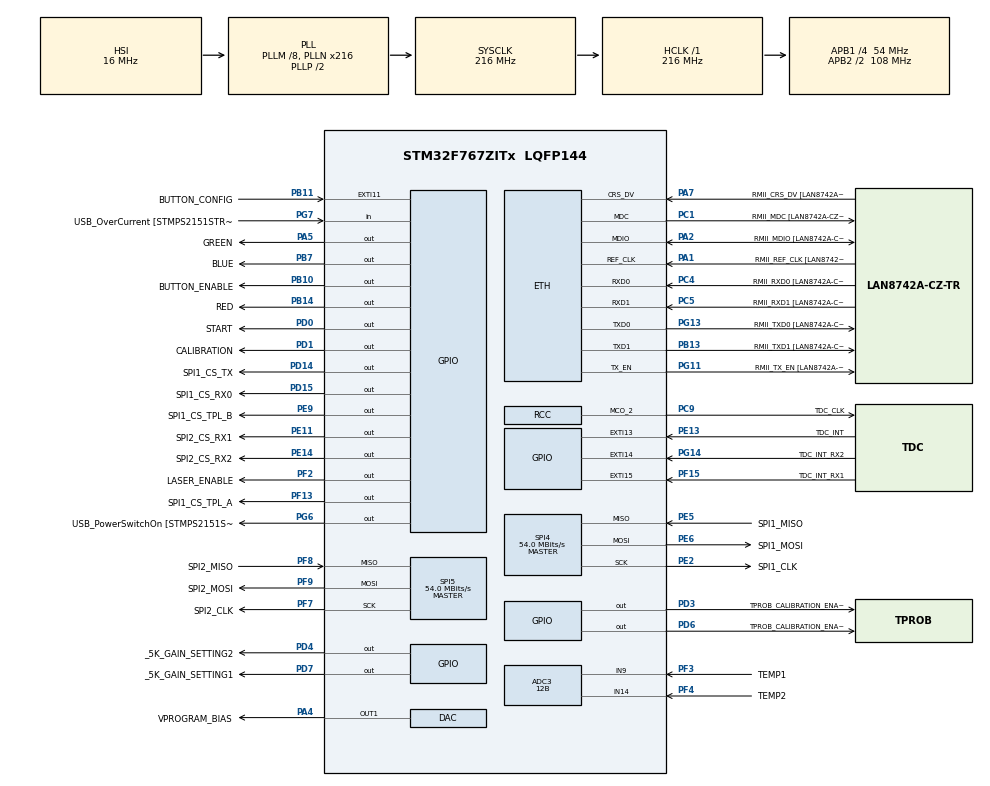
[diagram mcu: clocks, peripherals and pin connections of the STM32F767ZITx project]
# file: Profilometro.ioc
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ADC3.Channel-0\#ChannelRegularConversion=ADC_CHANNEL_9
ADC3.ClockPrescaler=ADC_CLOCK_SYNC_PCLK_DIV4
ADC3.ContinuousConvMode=DISABLE
ADC3.DMAContinuousRequests=DISABLE
ADC3.DataAlign=ADC_DATAALIGN_RIGHT
ADC3.DiscontinuousConvMode=DISABLE
ADC3.EOCSelection=ADC_EOC_SINGLE_CONV
ADC3.EnableAnalogWatchDog=false
ADC3.ExternalTrigConv=ADC_SOFTWARE_START
ADC3.ExternalTrigConvEdge=ADC_EXTERNALTRIGCONVEDGE_NONE
ADC3.InjNumberOfConversion=0
ADC3.NbrOfConversion=1
ADC3.NbrOfConversionFlag=1
ADC3.Rank-0\#ChannelRegularConversion=1
ADC3.Resolution=ADC_RESOLUTION_12B
ADC3.SamplingTime-0\#ChannelRegularConversion=ADC_SAMPLETIME_3CYCLES
ADC3.ScanConvMode=DISABLE
ETH.MediaInterface=ETH_MEDIA_INTERFACE_RMII
LWIP.GATEWAY_ADDRESS=192.168.002.001
LWIP.IP_ADDRESS=192.168.002.005
LWIP.LWIP_DHCP=0
LWIP.LWIP_HTTPD=1
LWIP.LWIP_HTTPD_CGI=1
LWIP.LWIP_NETIF_LINK_CALLBACK=1
LWIP.NETMASK_ADDRESS=255.255.255.000
LWIP.Version=v2.0.0_Cube
Mcu.Family=STM32F7
Mcu.Name=STM32F767ZITx
Mcu.Package=LQFP144
NVIC.EXTI15_10_IRQn=true\:0\:0\:false\:false\:true\:true
NVIC.PriorityGroup=NVIC_PRIORITYGROUP_4
NVIC.TIM1_UP_TIM10_IRQn=true\:0\:0\:false\:false\:true\:true
PA1.GPIO_Label=RMII_REF_CLK [LAN8742A-CZ-TR_REFCLK0]
PA1.Mode=RMII
PA1.Signal=ETH_REF_CLK
PA10.GPIO_Label=USB_ID
PA10.Signal=USB_OTG_FS_ID
PA11.GPIO_Label=USB_DM
PA11.Signal=USB_OTG_FS_DM
PA12.GPIO_Label=USB_DP
PA12.Signal=USB_OTG_FS_DP
PA13.GPIO_Label=TMS
PA13.Signal=SYS_JTMS-SWDIO
PA14.GPIO_Label=TCK
PA14.Signal=SYS_JTCK-SWCLK
PA2.GPIO_Label=RMII_MDIO [LAN8742A-CZ-TR_MDIO]
PA2.Mode=RMII
PA2.Signal=ETH_MDIO
PA4.GPIO_Label=VPROGRAM_BIAS
PA4.Signal=COMP_DAC1_group
PA5.GPIO_Label=GREEN
PA5.Signal=GPIO_Output
PA7.GPIO_Label=RMII_CRS_DV [LAN8742A-CZ-TR_CRS_DV]
PA7.Mode=RMII
PA7.Signal=ETH_CRS_DV
PA8.Signal=RCC_MCO_1
PA9.GPIO_Label=USB_VBUS
PA9.Signal=USB_OTG_FS_VBUS
PB10.GPIO_Label=BUTTON_ENABLE
PB10.Signal=GPIO_Output
PB11.GPIO_Label=BUTTON_CONFIG
PB11.GPIO_PuPd=GPIO_PULLDOWN
PB11.Signal=GPXTI11
PB13.GPIO_Label=RMII_TXD1 [LAN8742A-CZ-TR_TXD1]
PB13.Mode=RMII
PB13.Signal=ETH_TXD1
PB14.GPIO_Label=RED
PB14.Signal=GPIO_Output
PB3.GPIO_Label=SW0
PB3.Signal=SYS_JTDO-SWO
PB7.GPIO_Label=BLUE
PB7.Signal=GPIO_Output
PC1.GPIO_Label=RMII_MDC [LAN8742A-CZ-TR_MDC]
PC1.Mode=RMII
PC1.Signal=ETH_MDC
PC14/OSC32_IN.Signal=RCC_OSC32_IN
PC15/OSC32_OUT.Signal=RCC_OSC32_OUT
PC4.GPIO_Label=RMII_RXD0 [LAN8742A-CZ-TR_RXD0]
PC4.Mode=RMII
PC4.Signal=ETH_RXD0
PC5.GPIO_Label=RMII_RXD1 [LAN8742A-CZ-TR_RXD1]
PC5.Mode=RMII
PC5.Signal=ETH_RXD1
PC9.GPIO_Label=TDC_CLK
PC9.Mode=Clock-out-2
PC9.Signal=RCC_MCO_2
PD0.GPIO_Label=START
PD0.Signal=GPIO_Output
PD1.GPIO_Label=CALIBRATION
PD1.Signal=GPIO_Output
PD14.GPIO_Label=SPI1_CS_TX
PD14.Signal=GPIO_Output
PD15.GPIO_Label=SPI1_CS_RX0
PD15.Signal=GPIO_Output
PD3.GPIO_Label=TPROB_CALIBRATION_ENABLE2
PD3.Signal=GPIO_Output
PD4.GPIO_Label=_5K_GAIN_SETTING2
PD4.Signal=GPIO_Output
PD6.GPIO_Label=TPROB_CALIBRATION_ENABLE1
PD6.Signal=GPIO_Output
PD7.GPIO_Label=_5K_GAIN_SETTING1
PD7.Signal=GPIO_Output
PD8.GPIO_Label=STLK_RX [STM32F103CBT6_PA3]
PD8.Signal=USART3_TX
PD9.GPIO_Label=STLK_TX [STM32F103CBT6_PA2]
PD9.Signal=USART3_RX
PE11.GPIO_Label=SPI2_CS_RX1
PE11.Signal=GPIO_Output
PE13.GPIO_Label=TDC_INT
PE13.Signal=GPXTI13
PE14.GPIO_Label=SPI2_CS_RX2
PE14.Signal=GPIO_Output
PE2.GPIO_Label=SPI1_CLK
PE2.Mode=Full_Duplex_Master
PE2.Signal=SPI4_SCK
PE5.GPIO_Label=SPI1_MISO
PE5.Mode=Full_Duplex_Master
PE5.Signal=SPI4_MISO
PE6.GPIO_Label=SPI1_MOSI
PE6.Mode=Full_Duplex_Master
PE6.Signal=SPI4_MOSI
PE9.GPIO_Label=SPI1_CS_TPL_B
PE9.Signal=GPIO_Output
PF13.GPIO_Label=SPI1_CS_TPL_A
PF13.Signal=GPIO_Output
PF15.GPIO_Label=TDC_INT_RX1
PF15.Signal=GPXTI15
PF2.GPIO_Label=LASER_ENABLE
PF2.Signal=GPIO_Output
PF3.GPIO_Label=TEMP1
PF3.Mode=IN9
PF3.Signal=ADC3_IN9
PF4.GPIO_Label=TEMP2
PF4.Mode=IN14
PF4.Signal=ADC3_IN14
PF7.GPIO_Label=SPI2_CLK
PF7.Mode=Full_Duplex_Master
PF7.Signal=SPI5_SCK
PF8.GPIO_Label=SPI2_MISO
PF8.Mode=Full_Duplex_Master
PF8.Signal=SPI5_MISO
PF9.GPIO_Label=SPI2_MOSI
PF9.Mode=Full_Duplex_Master
PF9.Signal=SPI5_MOSI
PG11.GPIO_Label=RMII_TX_EN [LAN8742A-CZ-TR_TXEN]
PG11.Mode=RMII
PG11.Signal=ETH_TX_EN
PG13.GPIO_Label=RMII_TXD0 [LAN8742A-CZ-TR_TXD0]
PG13.Mode=RMII
PG13.Signal=ETH_TXD0
PG14.GPIO_Label=TDC_INT_RX2
PG14.Signal=GPXTI14
PG6.GPIO_Label=USB_PowerSwitchOn [STMPS2151STR_EN]
PG6.Signal=GPIO_Output
PG7.GPIO_Label=USB_OverCurrent [STMPS2151STR_FAULT]
PG7.Signal=GPIO_Input
PH0/OSC_IN.GPIO_Label=MCO [STM32F103CBT6_PA8]
PH0/OSC_IN.Signal=RCC_OSC_IN
PH1/OSC_OUT.Signal=RCC_OSC_OUT
ProjectManager.HeapSize=0x200
ProjectManager.StackSize=0x400
ProjectManager.TargetToolchain=MDK-ARM V5
RCC.48MHZClocksFreq_Value=24000000
RCC.AHBFreq_Value=216000000
RCC.APB1CLKDivider=RCC_HCLK_DIV4
RCC.APB1Freq_Value=54000000
RCC.APB1TimFreq_Value=108000000
RCC.APB2CLKDivider=RCC_HCLK_DIV2
RCC.APB2Freq_Value=108000000
RCC.APB2TimFreq_Value=216000000
RCC.CortexFreq_Value=216000000
RCC.HCLKFreq_Value=216000000
RCC.HSE_VALUE=16000000
RCC.HSI_VALUE=16000000
RCC.LSE_VALUE=32768
RCC.PLLI2SN=160
RCC.PLLI2SR=4
RCC.PLLM=8
RCC.PLLMUL=RCC_PLL_MUL9
RCC.PLLN=216
RCC.PRESCALERUSB=RCC_USBCLKSOURCE_PLL_DIV1_5
RCC.RCC_MCO2Source=RCC_MCO2SOURCE_PLLI2SCLK
RCC.RCC_MCODiv2=RCC_MCODIV_5
RCC.SYSCLKFreq_VALUE=216000000
RCC.SYSCLKSource=RCC_SYSCLKSOURCE_PLLCLK
RCC.SYSCLKSourceVirtual=RCC_SYSCLKSOURCE_PLLCLK
RCC.USBFreq_Value=216000000
RCC.VCOOutputFreq_Value=432000000
SH.COMP_DAC1_group.0=DAC_OUT1,DAC_OUT1
SPI4.CLKPhase=SPI_PHASE_2EDGE
SPI4.CLKPolarity=SPI_POLARITY_HIGH
SPI4.CalculateBaudRate=54.0 MBits/s
SPI4.DataSize=SPI_DATASIZE_8BIT
SPI4.Direction=SPI_DIRECTION_2LINES
SPI4.Mode=SPI_MODE_MASTER
SPI4.VirtualType=VM_MASTER
SPI5.BaudRatePrescaler=SPI_BAUDRATEPRESCALER_2
SPI5.CLKPhase=SPI_PHASE_2EDGE
SPI5.CLKPolarity=SPI_POLARITY_HIGH
SPI5.CalculateBaudRate=54.0 MBits/s
SPI5.DataSize=SPI_DATASIZE_8BIT
SPI5.Direction=SPI_DIRECTION_2LINES
SPI5.Mode=SPI_MODE_MASTER
SPI5.VirtualType=VM_MASTER
TIM10.Period=15999
TIM10.Prescaler=999
VP_LWIP_VS_Enabled.Mode=Enabled
VP_TIM10_VS_ClockSourceINT.Mode=Enable_Timer
board=NUCLEO-F767ZI

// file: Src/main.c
/**
  ******************************************************************************
  * File Name          : main.c
  * Description        : Main program body
  ******************************************************************************
  * This notice applies to any and all portions of this file
  * that are not between comment pairs USER CODE BEGIN and
  * USER CODE END. Other portions of this file, whether
  * inserted by the user or by software development tools
  * are owned by their respective copyright owners.
  *
  * Copyright (c) 2017 STMicroelectronics International N.V.
  * All rights reserved.
  *
  * Redistribution and use in source and binary forms, with or without
  * modification, are permitted, provided that the following conditions are met:
  *
  * 1. Redistribution of source code must retain the above copyright notice,
  *    this list of conditions and the following disclaimer.
  * 2. Redistributions in binary form must reproduce the above copyright notice,
  *    this list of conditions and the following disclaimer in the documentation
  *    and/or other materials provided with the distribution.
  * 3. Neither the name of STMicroelectronics nor the names of other
  *    contributors to this software may be used to endorse or promote products
  *    derived from this software without specific written permission.
  * 4. This software, including modifications and/or derivative works of this
  *    software, must execute solely and exclusively on microcontroller or
  *    microprocessor devices manufactured by or for STMicroelectronics.
  * 5. Redistribution and use of this software other than as permitted under
  *    this license is void and will automatically terminate your rights under
  *    this license.
  *
  * THIS SOFTWARE IS PROVIDED BY STMICROELECTRONICS AND CONTRIBUTORS "AS IS"
  * AND ANY EXPRESS, IMPLIED OR STATUTORY WARRANTIES, INCLUDING, BUT NOT
  * LIMITED TO, THE IMPLIED WARRANTIES OF MERCHANTABILITY, FITNESS FOR A
  * PARTICULAR PURPOSE AND NON-INFRINGEMENT OF THIRD PARTY INTELLECTUAL PROPERTY
  * RIGHTS ARE DISCLAIMED TO THE FULLEST EXTENT PERMITTED BY LAW. IN NO EVENT
  * SHALL STMICROELECTRONICS OR CONTRIBUTORS BE LIABLE FOR ANY DIRECT, INDIRECT,
  * INCIDENTAL, SPECIAL, EXEMPLARY, OR CONSEQUENTIAL DAMAGES (INCLUDING, BUT NOT
  * LIMITED TO, PROCUREMENT OF SUBSTITUTE GOODS OR SERVICES; LOSS OF USE, DATA,
  * OR PROFITS; OR BUSINESS INTERRUPTION) HOWEVER CAUSED AND ON ANY THEORY OF
  * LIABILITY, WHETHER IN CONTRACT, STRICT LIABILITY, OR TORT (INCLUDING
  * NEGLIGENCE OR OTHERWISE) ARISING IN ANY WAY OUT OF THE USE OF THIS SOFTWARE,
  * EVEN IF ADVISED OF THE POSSIBILITY OF SUCH DAMAGE.
  *
  ******************************************************************************
  */

#include "main.h"
#include "stm32f7xx_hal.h"
#include "lwip.h"

/* USER CODE BEGIN Includes */
#include "utils.h"
#include "tcp_client.h"
#include <time.h>
#include <string.h>
#include <stdlib.h>
#include <stdio.h>
#include "lwip/tcp.h"
/* USER CODE END Includes */

ADC_HandleTypeDef hadc3;

DAC_HandleTypeDef hdac;

SPI_HandleTypeDef hspi4;
SPI_HandleTypeDef hspi5;

TIM_HandleTypeDef htim10;

/* USER CODE BEGIN PV */
/* Private variables ---------------------------------------------------------*/

/* USER CODE END PV */

void SystemClock_Config(void);
static void MX_GPIO_Init(void);
static void MX_ADC3_Init(void);
static void MX_DAC_Init(void);
static void MX_SPI4_Init(void);
static void MX_SPI5_Init(void);
static void MX_TIM10_Init(void);

/* USER CODE BEGIN PFP */
/* Private function prototypes -----------------------------------------------*/
void spi_set_cs_high(void);
void couple_spi_cs(void);
void tdc_tpl_config(void);
static void tdcs_enable(void);
static void laser_enable(void);
static void laser_disable(void);
static void populate_TX_RX0(void);
static void populate_RX1(void);
static void populate_RX2(void);
void compute_distance(int);
void send_measures_tcp(void);
void prepare_measure(char *, int, char *, double);

static err_t tcp_alive_connected(void *arg, struct tcp_pcb *tpcb, err_t err);
static err_t tcp_measure_connected(void *arg, struct tcp_pcb *tpcb, err_t err);

/* USER CODE END PFP */

/* USER CODE BEGIN 0 */

/*couple spi with cs pin*/

struct SPI_Struct spiTX;
struct SPI_Struct spiRX0;
struct SPI_Struct spiRX1;
struct SPI_Struct spiRX2;
struct SPI_Struct tplA;
struct SPI_Struct tplB;

struct TDC_reg TX;
struct TDC_reg RX0;
struct TDC_reg RX1;
struct TDC_reg RX2;

struct measure distance;

int finish_measurement = 0; // 1 if measurement is finished

int alive_conn = 1;
int measure_conn = 0;

struct tcp_pcb *alive_pcb;
struct tcp_pcb *measure_pcb;

void HAL_GPIO_EXTI_Callback(uint16_t GPIO_Pin)
{
	switch (GPIO_Pin)
	{
		case BUTTON_CONFIG_Pin :
				{
					//se sono in config mode segnalo a labview che mi assento per misurare
					if (config_mode)
					{
						tcp_write(alive_pcb, "conn=1&conf=0", strlen("conn=1&conf=0"), 1);
						tcp_close(alive_pcb);
						alive_conn = 0;
					}
					else
					{
						alive_conn = 1;
					}

					HAL_GPIO_TogglePin(BLUE_GPIO_Port, BLUE_Pin);
					HAL_GPIO_TogglePin(RED_GPIO_Port, RED_Pin);
					config_mode = !config_mode;
					break;
				}

		case TDC_INT_Pin :
				{
					populate_TX_RX0();
					break;
				}

		case TDC_INT_RX1_Pin:
				{
					populate_RX1();
				  break;
				}

		case TDC_INT_RX2_Pin:
				{
					populate_RX2();
					break;
				}
	}
}

void HAL_TIM_PeriodElapsedCallback(TIM_HandleTypeDef *htim)
{
	if (config_mode)
	{
		HAL_GPIO_WritePin(RED_GPIO_Port, RED_Pin, GPIO_PIN_SET);
		HAL_GPIO_WritePin(BLUE_GPIO_Port, BLUE_Pin, GPIO_PIN_RESET);

		if (alive_conn)
		{
			char * mode;
			sprintf(mode, "%d", config_mode);
			char * config = (char *) malloc(1 + strlen("conn=1") + strlen("&conf=")+ strlen(mode) );
			strcpy(config, "conn=1");
			strcat(config, "&conf=");
			strcat(config, mode);

			tcp_send(config);
		}
	}
	else
	{
		HAL_GPIO_WritePin(RED_GPIO_Port, RED_Pin, GPIO_PIN_RESET);
		HAL_GPIO_WritePin(BLUE_GPIO_Port, BLUE_Pin, GPIO_PIN_SET);
	}
}

/* USER CODE END 0 */

int main(void)
{

  /* MCU Configuration----------------------------------------------------------*/

  /* Reset of all peripherals, Initializes the Flash interface and the Systick. */
  HAL_Init();

  /* Configure the system clock */
  SystemClock_Config();

  /* Initialize all configured peripherals */
  MX_GPIO_Init();
  MX_ADC3_Init();
  MX_DAC_Init();
  MX_SPI4_Init();
  MX_SPI5_Init();
  MX_LWIP_Init();
  MX_TIM10_Init();

  /* USER CODE BEGIN 2 */
	HAL_TIM_Base_Start_IT(&htim10);

	HAL_GPIO_WritePin(RED_GPIO_Port, RED_Pin, GPIO_PIN_SET);
	HAL_GPIO_WritePin(BLUE_GPIO_Port, BLUE_Pin, GPIO_PIN_RESET);

	//set all spi cs high
	spi_set_cs_high();

	//set spi channel and cs pin
	couple_spi_cs();

	//initial config of tdcs and obtain initial reg values
	//tdc_tpl_config();

  /* USER CODE END 2 */

  /* Infinite loop */
  while (1)
  {

  /* USER CODE BEGIN 3 */

		if (!config_mode)
		{
			for (int i = 0; i < num_of_points; i++)
			{
				//enable tdcs register for measurement and laser driver
				tdcs_enable();
				laser_enable();

				//set start signal
				HAL_GPIO_WritePin(START_GPIO_Port, START_Pin, GPIO_PIN_SET);
				//delay 10 ns
				HAL_Delay(10);
				//reset start signal
				HAL_GPIO_WritePin(START_GPIO_Port, START_Pin, GPIO_PIN_RESET);

				//wait until first interrupt comes
				while(RX0.empty);

				//disable laser driver (for security reasons)
				laser_disable();

				compute_distance(0);
				if (!RX1.empty)
					compute_distance(1);
				if (!RX2.empty)
					compute_distance(2);
			}
			//tell to micro to send data
			//send_measures_tcp();
			//enable config mode at the end of measurements
			config_mode = 1;
		}
		else
		{
			MX_LWIP_Process();
		}
  }
  /* USER CODE END 3 */

}

/** System Clock Configuration
*/
void SystemClock_Config(void)
{

  RCC_OscInitTypeDef RCC_OscInitStruct;
  RCC_ClkInitTypeDef RCC_ClkInitStruct;
  RCC_PeriphCLKInitTypeDef PeriphClkInitStruct;

    /**Configure the main internal regulator output voltage
    */
  __HAL_RCC_PWR_CLK_ENABLE();

  __HAL_PWR_VOLTAGESCALING_CONFIG(PWR_REGULATOR_VOLTAGE_SCALE1);

    /**Initializes the CPU, AHB and APB busses clocks
    */
  RCC_OscInitStruct.OscillatorType = RCC_OSCILLATORTYPE_HSI;
  RCC_OscInitStruct.HSIState = RCC_HSI_ON;
  RCC_OscInitStruct.HSICalibrationValue = 16;
  RCC_OscInitStruct.PLL.PLLState = RCC_PLL_ON;
  RCC_OscInitStruct.PLL.PLLSource = RCC_PLLSOURCE_HSI;
  RCC_OscInitStruct.PLL.PLLM = 8;
  RCC_OscInitStruct.PLL.PLLN = 216;
  RCC_OscInitStruct.PLL.PLLP = RCC_PLLP_DIV2;
  RCC_OscInitStruct.PLL.PLLQ = 2;
  if (HAL_RCC_OscConfig(&RCC_OscInitStruct) != HAL_OK)
  {
    _Error_Handler(__FILE__, __LINE__);
  }

    /**Activate the Over-Drive mode
    */
  if (HAL_PWREx_EnableOverDrive() != HAL_OK)
  {
    _Error_Handler(__FILE__, __LINE__);
  }

    /**Initializes the CPU, AHB and APB busses clocks
    */
  RCC_ClkInitStruct.ClockType = RCC_CLOCKTYPE_HCLK|RCC_CLOCKTYPE_SYSCLK
                              |RCC_CLOCKTYPE_PCLK1|RCC_CLOCKTYPE_PCLK2;
  RCC_ClkInitStruct.SYSCLKSource = RCC_SYSCLKSOURCE_PLLCLK;
  RCC_ClkInitStruct.AHBCLKDivider = RCC_SYSCLK_DIV1;
  RCC_ClkInitStruct.APB1CLKDivider = RCC_HCLK_DIV4;
  RCC_ClkInitStruct.APB2CLKDivider = RCC_HCLK_DIV2;

  if (HAL_RCC_ClockConfig(&RCC_ClkInitStruct, FLASH_LATENCY_7) != HAL_OK)
  {
    _Error_Handler(__FILE__, __LINE__);
  }

  PeriphClkInitStruct.PeriphClockSelection = RCC_PERIPHCLK_PLLI2S;
  PeriphClkInitStruct.PLLI2S.PLLI2SN = 160;
  PeriphClkInitStruct.PLLI2S.PLLI2SP = RCC_PLLP_DIV2;
  PeriphClkInitStruct.PLLI2S.PLLI2SR = 4;
  PeriphClkInitStruct.PLLI2S.PLLI2SQ = 2;
  PeriphClkInitStruct.PLLI2SDivQ = 1;
  if (HAL_RCCEx_PeriphCLKConfig(&PeriphClkInitStruct) != HAL_OK)
  {
    _Error_Handler(__FILE__, __LINE__);
  }

  HAL_RCC_MCOConfig(RCC_MCO2, RCC_MCO2SOURCE_PLLI2SCLK, RCC_MCODIV_5);

    /**Configure the Systick interrupt time
    */
  HAL_SYSTICK_Config(HAL_RCC_GetHCLKFreq()/1000);

    /**Configure the Systick
    */
  HAL_SYSTICK_CLKSourceConfig(SYSTICK_CLKSOURCE_HCLK);

  /* SysTick_IRQn interrupt configuration */
  HAL_NVIC_SetPriority(SysTick_IRQn, 0, 0);
}

/* ADC3 init function */
static void MX_ADC3_Init(void)
{

  ADC_ChannelConfTypeDef sConfig;

    /**Configure the global features of the ADC (Clock, Resolution, Data Alignment and number of conversion)
    */
  hadc3.Instance = ADC3;
  hadc3.Init.ClockPrescaler = ADC_CLOCK_SYNC_PCLK_DIV4;
  hadc3.Init.Resolution = ADC_RESOLUTION_12B;
  hadc3.Init.ScanConvMode = DISABLE;
  hadc3.Init.ContinuousConvMode = DISABLE;
  hadc3.Init.DiscontinuousConvMode = DISABLE;
  hadc3.Init.ExternalTrigConvEdge = ADC_EXTERNALTRIGCONVEDGE_NONE;
  hadc3.Init.ExternalTrigConv = ADC_SOFTWARE_START;
  hadc3.Init.DataAlign = ADC_DATAALIGN_RIGHT;
  hadc3.Init.NbrOfConversion = 1;
  hadc3.Init.DMAContinuousRequests = DISABLE;
  hadc3.Init.EOCSelection = ADC_EOC_SINGLE_CONV;
  if (HAL_ADC_Init(&hadc3) != HAL_OK)
  {
    _Error_Handler(__FILE__, __LINE__);
  }

    /**Configure for the selected ADC regular channel its corresponding rank in the sequencer and its sample time.
    */
  sConfig.Channel = ADC_CHANNEL_9;
  sConfig.Rank = 1;
  sConfig.SamplingTime = ADC_SAMPLETIME_3CYCLES;
  if (HAL_ADC_ConfigChannel(&hadc3, &sConfig) != HAL_OK)
  {
    _Error_Handler(__FILE__, __LINE__);
  }

}

/* DAC init function */
static void MX_DAC_Init(void)
{

  DAC_ChannelConfTypeDef sConfig;

    /**DAC Initialization
    */
  hdac.Instance = DAC;
  if (HAL_DAC_Init(&hdac) != HAL_OK)
  {
    _Error_Handler(__FILE__, __LINE__);
  }

    /**DAC channel OUT1 config
    */
  sConfig.DAC_Trigger = DAC_TRIGGER_NONE;
  sConfig.DAC_OutputBuffer = DAC_OUTPUTBUFFER_ENABLE;
  if (HAL_DAC_ConfigChannel(&hdac, &sConfig, DAC_CHANNEL_1) != HAL_OK)
  {
    _Error_Handler(__FILE__, __LINE__);
  }

}

/* SPI4 init function */
static void MX_SPI4_Init(void)
{

  /* SPI4 parameter configuration*/
  hspi4.Instance = SPI4;
  hspi4.Init.Mode = SPI_MODE_MASTER;
  hspi4.Init.Direction = SPI_DIRECTION_2LINES;
  hspi4.Init.DataSize = SPI_DATASIZE_8BIT;
  hspi4.Init.CLKPolarity = SPI_POLARITY_HIGH;
  hspi4.Init.CLKPhase = SPI_PHASE_2EDGE;
  hspi4.Init.NSS = SPI_NSS_SOFT;
  hspi4.Init.BaudRatePrescaler = SPI_BAUDRATEPRESCALER_2;
  hspi4.Init.FirstBit = SPI_FIRSTBIT_MSB;
  hspi4.Init.TIMode = SPI_TIMODE_DISABLE;
  hspi4.Init.CRCCalculation = SPI_CRCCALCULATION_DISABLE;
  hspi4.Init.CRCPolynomial = 7;
  hspi4.Init.CRCLength = SPI_CRC_LENGTH_DATASIZE;
  hspi4.Init.NSSPMode = SPI_NSS_PULSE_DISABLE;
  if (HAL_SPI_Init(&hspi4) != HAL_OK)
  {
    _Error_Handler(__FILE__, __LINE__);
  }

}

/* SPI5 init function */
static void MX_SPI5_Init(void)
{

  /* SPI5 parameter configuration*/
  hspi5.Instance = SPI5;
  hspi5.Init.Mode = SPI_MODE_MASTER;
  hspi5.Init.Direction = SPI_DIRECTION_2LINES;
  hspi5.Init.DataSize = SPI_DATASIZE_8BIT;
  hspi5.Init.CLKPolarity = SPI_POLARITY_HIGH;
  hspi5.Init.CLKPhase = SPI_PHASE_2EDGE;
  hspi5.Init.NSS = SPI_NSS_SOFT;
  hspi5.Init.BaudRatePrescaler = SPI_BAUDRATEPRESCALER_2;
  hspi5.Init.FirstBit = SPI_FIRSTBIT_MSB;
  hspi5.Init.TIMode = SPI_TIMODE_DISABLE;
  hspi5.Init.CRCCalculation = SPI_CRCCALCULATION_DISABLE;
  hspi5.Init.CRCPolynomial = 7;
  hspi5.Init.CRCLength = SPI_CRC_LENGTH_DATASIZE;
  hspi5.Init.NSSPMode = SPI_NSS_PULSE_DISABLE;
  if (HAL_SPI_Init(&hspi5) != HAL_OK)
  {
    _Error_Handler(__FILE__, __LINE__);
  }

}

/* TIM10 init function */
static void MX_TIM10_Init(void)
{

  htim10.Instance = TIM10;
  htim10.Init.Prescaler = 99999;
  htim10.Init.CounterMode = TIM_COUNTERMODE_UP;
  htim10.Init.Period = 39999;
  htim10.Init.ClockDivision = TIM_CLOCKDIVISION_DIV1;
  htim10.Init.AutoReloadPreload = TIM_AUTORELOAD_PRELOAD_DISABLE;
  if (HAL_TIM_Base_Init(&htim10) != HAL_OK)
  {
    _Error_Handler(__FILE__, __LINE__);
  }

}

/** Configure pins as
        * Analog
        * Input
        * Output
        * EVENT_OUT
        * EXTI
     PD8   ------> USART3_TX
     PD9   ------> USART3_RX
     PC9   ------> RCC_MCO_2
     PA8   ------> RCC_MCO_1
     PA9   ------> USB_OTG_FS_VBUS
     PA10   ------> USB_OTG_FS_ID
     PA11   ------> USB_OTG_FS_DM
     PA12   ------> USB_OTG_FS_DP
*/
static void MX_GPIO_Init(void)
{

  GPIO_InitTypeDef GPIO_InitStruct;

  /* GPIO Ports Clock Enable */
  __HAL_RCC_GPIOE_CLK_ENABLE();
  __HAL_RCC_GPIOC_CLK_ENABLE();
  __HAL_RCC_GPIOF_CLK_ENABLE();
  __HAL_RCC_GPIOH_CLK_ENABLE();
  __HAL_RCC_GPIOA_CLK_ENABLE();
  __HAL_RCC_GPIOB_CLK_ENABLE();
  __HAL_RCC_GPIOD_CLK_ENABLE();
  __HAL_RCC_GPIOG_CLK_ENABLE();

  /*Configure GPIO pin Output Level */
  HAL_GPIO_WritePin(GPIOF, LASER_ENABLE_Pin|SPI1_CS_TPL_A_Pin, GPIO_PIN_RESET);

  /*Configure GPIO pin Output Level */
  HAL_GPIO_WritePin(GREEN_GPIO_Port, GREEN_Pin, GPIO_PIN_RESET);

  /*Configure GPIO pin Output Level */
  HAL_GPIO_WritePin(GPIOE, SPI1_CS_TPL_B_Pin|SPI2_CS_RX1_Pin|SPI2_CS_RX2_Pin, GPIO_PIN_RESET);

  /*Configure GPIO pin Output Level */
  HAL_GPIO_WritePin(GPIOB, BUTTON_ENABLE_Pin|RED_Pin|BLUE_Pin, GPIO_PIN_RESET);

  /*Configure GPIO pin Output Level */
  HAL_GPIO_WritePin(GPIOD, SPI1_CS_TX_Pin|SPI1_CS_RX0_Pin|START_Pin|CALIBRATION_Pin
                          |TPROB_CALIBRATION_ENABLE2_Pin|_5K_GAIN_SETTING2_Pin|TPROB_CALIBRATION_ENABLE1_Pin|_5K_GAIN_SETTING1_Pin, GPIO_PIN_RESET);

  /*Configure GPIO pin Output Level */
  HAL_GPIO_WritePin(USB_PowerSwitchOn_GPIO_Port, USB_PowerSwitchOn_Pin, GPIO_PIN_RESET);

  /*Configure GPIO pins : LASER_ENABLE_Pin SPI1_CS_TPL_A_Pin */
  GPIO_InitStruct.Pin = LASER_ENABLE_Pin|SPI1_CS_TPL_A_Pin;
  GPIO_InitStruct.Mode = GPIO_MODE_OUTPUT_PP;
  GPIO_InitStruct.Pull = GPIO_NOPULL;
  GPIO_InitStruct.Speed = GPIO_SPEED_FREQ_LOW;
  HAL_GPIO_Init(GPIOF, &GPIO_InitStruct);

  /*Configure GPIO pin : GREEN_Pin */
  GPIO_InitStruct.Pin = GREEN_Pin;
  GPIO_InitStruct.Mode = GPIO_MODE_OUTPUT_PP;
  GPIO_InitStruct.Pull = GPIO_NOPULL;
  GPIO_InitStruct.Speed = GPIO_SPEED_FREQ_LOW;
  HAL_GPIO_Init(GREEN_GPIO_Port, &GPIO_InitStruct);

  /*Configure GPIO pin : TDC_INT_RX1_Pin */
  GPIO_InitStruct.Pin = TDC_INT_RX1_Pin;
  GPIO_InitStruct.Mode = GPIO_MODE_IT_RISING;
  GPIO_InitStruct.Pull = GPIO_NOPULL;
  HAL_GPIO_Init(TDC_INT_RX1_GPIO_Port, &GPIO_InitStruct);

  /*Configure GPIO pins : SPI1_CS_TPL_B_Pin SPI2_CS_RX1_Pin SPI2_CS_RX2_Pin */
  GPIO_InitStruct.Pin = SPI1_CS_TPL_B_Pin|SPI2_CS_RX1_Pin|SPI2_CS_RX2_Pin;
  GPIO_InitStruct.Mode = GPIO_MODE_OUTPUT_PP;
  GPIO_InitStruct.Pull = GPIO_NOPULL;
  GPIO_InitStruct.Speed = GPIO_SPEED_FREQ_LOW;
  HAL_GPIO_Init(GPIOE, &GPIO_InitStruct);

  /*Configure GPIO pin : TDC_INT_Pin */
  GPIO_InitStruct.Pin = TDC_INT_Pin;
  GPIO_InitStruct.Mode = GPIO_MODE_IT_RISING;
  GPIO_InitStruct.Pull = GPIO_NOPULL;
  HAL_GPIO_Init(TDC_INT_GPIO_Port, &GPIO_InitStruct);

  /*Configure GPIO pins : BUTTON_ENABLE_Pin RED_Pin BLUE_Pin */
  GPIO_InitStruct.Pin = BUTTON_ENABLE_Pin|RED_Pin|BLUE_Pin;
  GPIO_InitStruct.Mode = GPIO_MODE_OUTPUT_PP;
  GPIO_InitStruct.Pull = GPIO_NOPULL;
  GPIO_InitStruct.Speed = GPIO_SPEED_FREQ_LOW;
  HAL_GPIO_Init(GPIOB, &GPIO_InitStruct);

  /*Configure GPIO pin : BUTTON_CONFIG_Pin */
  GPIO_InitStruct.Pin = BUTTON_CONFIG_Pin;
  GPIO_InitStruct.Mode = GPIO_MODE_IT_RISING;
  GPIO_InitStruct.Pull = GPIO_PULLDOWN;
  HAL_GPIO_Init(BUTTON_CONFIG_GPIO_Port, &GPIO_InitStruct);

  /*Configure GPIO pins : STLK_RX_Pin STLK_TX_Pin */
  GPIO_InitStruct.Pin = STLK_RX_Pin|STLK_TX_Pin;
  GPIO_InitStruct.Mode = GPIO_MODE_AF_PP;
  GPIO_InitStruct.Pull = GPIO_NOPULL;
  GPIO_InitStruct.Speed = GPIO_SPEED_FREQ_VERY_HIGH;
  GPIO_InitStruct.Alternate = GPIO_AF7_USART3;
  HAL_GPIO_Init(GPIOD, &GPIO_InitStruct);

  /*Configure GPIO pins : SPI1_CS_TX_Pin SPI1_CS_RX0_Pin START_Pin CALIBRATION_Pin
                           TPROB_CALIBRATION_ENABLE2_Pin _5K_GAIN_SETTING2_Pin TPROB_CALIBRATION_ENABLE1_Pin _5K_GAIN_SETTING1_Pin */
  GPIO_InitStruct.Pin = SPI1_CS_TX_Pin|SPI1_CS_RX0_Pin|START_Pin|CALIBRATION_Pin
                          |TPROB_CALIBRATION_ENABLE2_Pin|_5K_GAIN_SETTING2_Pin|TPROB_CALIBRATION_ENABLE1_Pin|_5K_GAIN_SETTING1_Pin;
  GPIO_InitStruct.Mode = GPIO_MODE_OUTPUT_PP;
  GPIO_InitStruct.Pull = GPIO_NOPULL;
  GPIO_InitStruct.Speed = GPIO_SPEED_FREQ_LOW;
  HAL_GPIO_Init(GPIOD, &GPIO_InitStruct);

  /*Configure GPIO pin : USB_PowerSwitchOn_Pin */
  GPIO_InitStruct.Pin = USB_PowerSwitchOn_Pin;
  GPIO_InitStruct.Mode = GPIO_MODE_OUTPUT_PP;
  GPIO_InitStruct.Pull = GPIO_NOPULL;
  GPIO_InitStruct.Speed = GPIO_SPEED_FREQ_LOW;
  HAL_GPIO_Init(USB_PowerSwitchOn_GPIO_Port, &GPIO_InitStruct);

  /*Configure GPIO pin : USB_OverCurrent_Pin */
  GPIO_InitStruct.Pin = USB_OverCurrent_Pin;
  GPIO_InitStruct.Mode = GPIO_MODE_INPUT;
  GPIO_InitStruct.Pull = GPIO_NOPULL;
  HAL_GPIO_Init(USB_OverCurrent_GPIO_Port, &GPIO_InitStruct);

  /*Configure GPIO pin : TDC_CLK_Pin */
  GPIO_InitStruct.Pin = TDC_CLK_Pin;
  GPIO_InitStruct.Mode = GPIO_MODE_AF_PP;
  GPIO_InitStruct.Pull = GPIO_NOPULL;
  GPIO_InitStruct.Speed = GPIO_SPEED_FREQ_LOW;
  GPIO_InitStruct.Alternate = GPIO_AF0_MCO;
  HAL_GPIO_Init(TDC_CLK_GPIO_Port, &GPIO_InitStruct);

  /*Configure GPIO pin : PA8 */
  GPIO_InitStruct.Pin = GPIO_PIN_8;
  GPIO_InitStruct.Mode = GPIO_MODE_AF_PP;
  GPIO_InitStruct.Pull = GPIO_NOPULL;
  GPIO_InitStruct.Speed = GPIO_SPEED_FREQ_LOW;
  GPIO_InitStruct.Alternate = GPIO_AF0_MCO;
  HAL_GPIO_Init(GPIOA, &GPIO_InitStruct);

  /*Configure GPIO pin : USB_VBUS_Pin */
  GPIO_InitStruct.Pin = USB_VBUS_Pin;
  GPIO_InitStruct.Mode = GPIO_MODE_INPUT;
  GPIO_InitStruct.Pull = GPIO_NOPULL;
  HAL_GPIO_Init(USB_VBUS_GPIO_Port, &GPIO_InitStruct);

  /*Configure GPIO pins : USB_ID_Pin USB_DM_Pin USB_DP_Pin */
  GPIO_InitStruct.Pin = USB_ID_Pin|USB_DM_Pin|USB_DP_Pin;
  GPIO_InitStruct.Mode = GPIO_MODE_AF_PP;
  GPIO_InitStruct.Pull = GPIO_NOPULL;
  GPIO_InitStruct.Speed = GPIO_SPEED_FREQ_VERY_HIGH;
  GPIO_InitStruct.Alternate = GPIO_AF10_OTG_FS;
  HAL_GPIO_Init(GPIOA, &GPIO_InitStruct);

  /*Configure GPIO pin : TDC_INT_RX2_Pin */
  GPIO_InitStruct.Pin = TDC_INT_RX2_Pin;
  GPIO_InitStruct.Mode = GPIO_MODE_IT_RISING;
  GPIO_InitStruct.Pull = GPIO_NOPULL;
  HAL_GPIO_Init(TDC_INT_RX2_GPIO_Port, &GPIO_InitStruct);

  /* EXTI interrupt init*/
  HAL_NVIC_SetPriority(EXTI15_10_IRQn, 0, 0);
  HAL_NVIC_EnableIRQ(EXTI15_10_IRQn);

}

/* USER CODE BEGIN 4 */

/* Start measurement phase */
void start_measuring()
{
	config_mode = 0;
}

void stop_measuring()
{
	config_mode = 1;
}

/**
Set to high all CS pins of spi channels
*/
void spi_set_cs_high()
{
	HAL_GPIO_WritePin(SPI1_CS_TX_GPIO_Port, SPI1_CS_TX_Pin, GPIO_PIN_SET);
	HAL_GPIO_WritePin(SPI1_CS_RX0_GPIO_Port, SPI1_CS_RX0_Pin, GPIO_PIN_SET);
	HAL_GPIO_WritePin(SPI2_CS_RX1_GPIO_Port, SPI2_CS_RX1_Pin, GPIO_PIN_SET);
	HAL_GPIO_WritePin(SPI2_CS_RX2_GPIO_Port, SPI2_CS_RX2_Pin, GPIO_PIN_SET);
	HAL_GPIO_WritePin(SPI1_CS_TPL_A_GPIO_Port, SPI1_CS_TPL_A_Pin, GPIO_PIN_SET);
	HAL_GPIO_WritePin(SPI1_CS_TPL_B_GPIO_Port, SPI1_CS_TPL_B_Pin, GPIO_PIN_SET);
}

/**
Coupling in one struct CS pin with relative spi channel
*/
void couple_spi_cs()
{
	spiTX.spi = &hspi4;
	spiTX.pin_port = SPI1_CS_TX_GPIO_Port;
	spiTX.pin = SPI1_CS_TX_Pin;

	spiRX0.spi = &hspi4;
	spiRX0.pin_port = SPI1_CS_RX0_GPIO_Port;
	spiRX0.pin = SPI1_CS_RX0_Pin;

	spiRX1.spi = &hspi5;
	spiRX1.pin_port = SPI2_CS_RX1_GPIO_Port;
	spiRX1.pin = SPI2_CS_RX1_Pin;

	spiRX2.spi = &hspi5;
	spiRX2.pin_port = SPI2_CS_RX2_GPIO_Port;
	spiRX2.pin = SPI2_CS_RX2_Pin;

	tplA.spi = &hspi4;
	tplA.pin_port = SPI1_CS_TPL_A_GPIO_Port;
	tplA.pin = SPI1_CS_TPL_A_Pin;

	tplB.spi = &hspi4;
	tplB.pin_port = SPI1_CS_TPL_B_GPIO_Port;
	tplB.pin = SPI1_CS_TPL_B_Pin;
}

/**
* Reset local register variable and
* enable start_measurement on tdcs
*/
void tdcs_enable()
{
	tdc_enable_measure(&spiTX);
	tdc_enable_measure(&spiRX0);
	tdc_enable_measure(&spiRX1);
	tdc_enable_measure(&spiRX2);
	utils_init_regs(&TX);
	utils_init_regs(&RX0);
	utils_init_regs(&RX1);
	utils_init_regs(&RX2);
}

/**
* Initial config of register and obtain reg values at startup
*/
void tdc_tpl_config()
{
	tdc_init(&spiTX);
	tdc_init(&spiRX0);
	tdc_init(&spiRX1);
	tdc_init(&spiRX2);

	tpl_init(&tplA, 0);
	tpl_init(&tplA, 1);
}

/**
* Enable laser driver
*/
void laser_enable()
{
	HAL_GPIO_WritePin(LASER_ENABLE_GPIO_Port, LASER_ENABLE_Pin, GPIO_PIN_SET);
}

/**
* Disable laser driver
*/
void laser_disable()
{
	HAL_GPIO_WritePin(LASER_ENABLE_GPIO_Port, LASER_ENABLE_Pin, GPIO_PIN_RESET);
}

/**
* Once first interrupt TDC_INT has come
* retrive data from TX and RX0 registers
*/
void populate_TX_RX0()
{
	tdc_obtain_measure(&spiTX, &TX);
	tdc_obtain_measure(&spiRX0, &RX0);
	TX.empty = 0;
	RX0.empty = 0;
}

/**
* Once second interrupt TDC_RX1_INT has come
* retrive data from RX1 registers
*/
void populate_RX1()
{
	tdc_obtain_measure(&spiRX1, &RX1);
	RX1.empty = 0;
}

/**
* Once second interrupt TDC_RX2_INT has come
* retrive data from RX2 registers
*/
void populate_RX2()
{
	tdc_obtain_measure(&spiRX2, &RX2);
	RX2.empty = 0;
}

/**
* Compute distance of i-th tdc
*/
void compute_distance(int i)
{
	double calCount, normLSB, tofInit, tofSec;

	calCount = (TX.calibration2 - TX.calibration1) / (TX.calibration2periods - 1);
	normLSB  = TX.clock_period / calCount;
	tofInit = TX.time * normLSB;

	//tdc_TX & tdc_RX0 data ready
	if (i == 0)
	{
		calCount = (RX0.calibration2 - RX0.calibration1) / (RX0.calibration2periods - 1);
		normLSB  = RX0.clock_period / calCount;
		tofSec = RX0.time * normLSB;

		distance.distance0 = tofSec - tofInit;
		distance.time = RX0.timestamp;
	}

	//tdc_RX1 data ready
	if (i == 1)
	{
		calCount = (RX1.calibration2 - RX1.calibration1) / (RX1.calibration2periods - 1);
		normLSB  = RX1.clock_period / calCount;
		tofSec = RX1.time * normLSB;

		distance.distance1 = tofSec - tofInit;
		distance.time = RX1.timestamp;
	}

	//tdc_RX2 data ready
	if (i == 2)
	{
		calCount = (RX2.calibration2 - RX2.calibration1) / (RX2.calibration2periods - 1);
		normLSB  = RX2.clock_period / calCount;
		tofSec = RX2.time * normLSB;

		distance.distance2 = tofSec - tofInit;
		distance.time = RX2.timestamp;
	}
}

void send_measures_tcp()
{
	prepare_measure("time=", distance.time, "dist=", distance.distance0);
	prepare_measure("time=", distance.time, "dist=", distance.distance1);
	prepare_measure("time=", distance.time, "dist=", distance.distance2);
}

void prepare_measure(char * t, int time, char* d, double distance)
{
	char * dist;
	char * tim;
	sprintf(tim, "%d", time);
	sprintf(dist, "%f", distance);
	char * data_to_send = (char *) malloc(1 + strlen(tim)+ strlen(dist)+ strlen(t)+ strlen(d) );
	strcpy(data_to_send, t);
	strcat(data_to_send, tim);
	strcat(data_to_send, d);
	strcat(data_to_send, dist);

	//send back data to host
	tcp_send(data_to_send);

	free(data_to_send);
}

/*TCP ALIVE AND MEASURE SEND FUNCTIONS*/
void tcp_alive_connect()
{
  ip_addr_t DestIPaddr;
	ip_addr_t LocalIPaddr;

  /* create new tcp pcb */
  alive_pcb = tcp_new();

  if (alive_pcb != NULL)
  {
		IP4_ADDR( &LocalIPaddr, LOCAL_IP_ADDR0, LOCAL_IP_ADDR1, LOCAL_IP_ADDR2, LOCAL_IP_ADDR3 );
    IP4_ADDR( &DestIPaddr,  DEST_IP_ADDR0,  DEST_IP_ADDR1,  DEST_IP_ADDR2,  DEST_IP_ADDR3 );

		/* bind tcp connection with local parameter */
		tcp_bind(alive_pcb, &LocalIPaddr, ALIVE_MICRO_PORT);

		err_t err;

    /* connect to destination address/port */
    err = tcp_connect(alive_pcb,&DestIPaddr,ALIVE_SERVER_PORT,tcp_alive_connected);

		if (err != ERR_OK){
			HAL_GPIO_TogglePin(RED_GPIO_Port, RED_Pin);
			tcp_close(alive_pcb);
		}
  }
  else
  {
    /* deallocate the pcb */
    memp_free(MEMP_TCP_PCB, alive_pcb);
  }
}

static err_t tcp_alive_connected(void *arg, struct tcp_pcb *tpcb, err_t err)
{
	alive_conn = 1;
	return ERR_OK;
}

static err_t tcp_measure_connected(void *arg, struct tcp_pcb *tpcb, err_t err)
{
	measure_conn = 1;
	return ERR_OK;
}

/* USER CODE END 4 */

void _Error_Handler(char * file, int line)
{
  while(1)
  {
  }
}

/************************ (C) COPYRIGHT STMicroelectronics *****END OF FILE****/
